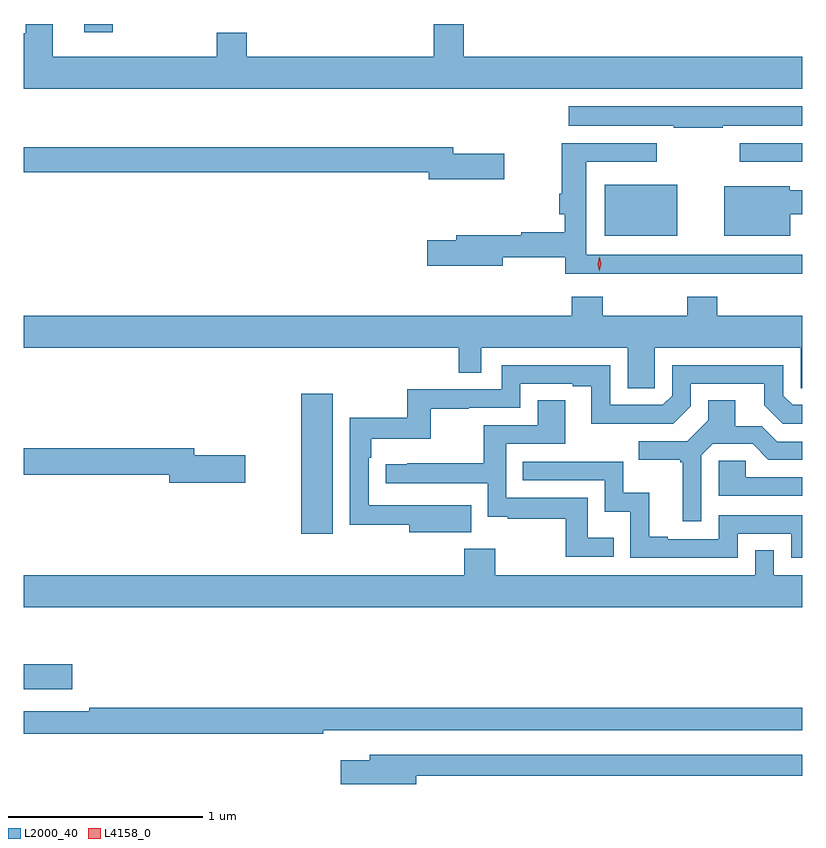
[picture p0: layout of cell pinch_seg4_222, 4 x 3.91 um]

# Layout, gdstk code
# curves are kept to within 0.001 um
import gdstk
lib = gdstk.Library(unit=1e-6, precision=1e-09)
def R(c, l, rs):  # rectangles x0, y0, x1, y1
    for r in rs: c.add(gdstk.rectangle(r[:2], r[2:], *l))
def P(c, l, *ps):  # polygons
    for p in ps: c.add(gdstk.Polygon(p, *l))
L2000_40 = (2000, 40)
L4158_0 = (4158, 0)

pinch_seg4_222 = lib.new_cell('pinch_seg4_222')
R(pinch_seg4_222, L2000_40, [(994.21,813.713,994.459,813.843), (995.636,814.512,995.797,815.233), (997.196,816.044,997.567,816.307), (997.89,816.423,998.21,816.519), (994.52,817.089,994.667,817.132)])
P(pinch_seg4_222, L2000_40, [(996.317,817.132),(996.317,816.964),(995.357,816.964),(995.357,817.088),(995.201,817.088),(995.201,816.964),(994.36,816.964),(994.36,817.132),(994.22,817.132),(994.22,817.085),(994.21,817.085),(994.21,816.8),(998.21,816.8),(998.21,816.964),(996.47,816.964),(996.47,817.132)],
  [(997.802,816.608),(998.21,816.608),(998.21,816.709),(997.011,816.709),(997.011,816.608),(997.549,816.608),(997.549,816.598),(997.802,816.598)],
  [(997.529,815.85),(997.861,815.85),(997.861,815.849),(998.138,815.849),(998.138,815.85),(998.21,815.85),(998.21,815.946),(997.101,815.946),(997.101,816.423),(997.462,816.423),(997.462,816.519),(996.974,816.519),(996.974,816.259),(996.962,816.259),(996.962,816.155),(996.989,816.155),(996.989,816.062),(996.766,816.062),(996.766,816.047),(996.431,816.047),(996.431,816.021),(996.282,816.021),(996.282,815.891),(996.67,815.891),(996.67,815.934),(996.993,815.934),(996.993,815.85),(997.273,815.85),(997.273,815.849),(997.529,815.849)],
  [(996.679,816.465),(996.418,816.465),(996.418,816.499),(994.21,816.499),(994.21,816.37),(996.29,816.37),(996.29,816.335),(996.679,816.335)],
  [(998.149,816.155),(998.21,816.155),(998.21,816.277),(998.145,816.277),(998.145,816.298),(997.808,816.298),(997.808,816.044),(998.149,816.044)],
  [(997.452,815.468),(998.202,815.468),(998.202,815.26),(998.21,815.26),(998.21,815.632),(997.773,815.632),(997.773,815.731),(997.618,815.731),(997.618,815.632),(997.185,815.632),(997.185,815.731),(997.025,815.731),(997.025,815.632),(994.21,815.632),(994.21,815.468),(996.445,815.468),(996.445,815.341),(996.561,815.341),(996.561,815.468),(997.313,815.468),(997.313,815.26),(997.452,815.26)],
  [(996.509,814.66),(995.982,814.659),(995.982,814.904),(995.996,814.904),(995.996,815),(996.301,815),(996.301,815.155),(996.497,815.155),(996.497,815.16),(996.762,815.16),(996.762,815.283),(997.031,815.283),(997.031,815.271),(997.127,815.271),(997.127,815.078),(997.548,815.079),(997.638,815.169),(997.638,815.283),(998.015,815.283),(998.015,815.173),(998.109,815.079),(998.21,815.079),(998.21,815.175),(998.16,815.175),(998.112,815.223),(998.112,815.379),(997.542,815.379),(997.542,815.223),(997.494,815.175),(997.224,815.175),(997.224,815.379),(996.666,815.379),(996.666,815.256),(996.18,815.256),(996.18,815.11),(995.886,815.11),(995.886,814.558),(996.191,814.558),(996.191,814.52),(996.509,814.52)],
  [(997.692,814.917),(997.749,814.974),(997.955,814.974),(998.036,814.893),(998.21,814.893),(998.21,814.986),(998.082,814.986),(998.002,815.066),(997.867,815.066),(997.867,815.198),(997.727,815.198),(997.727,815.096),(997.62,814.989),(997.371,814.989),(997.371,814.892),(997.584,814.892),(997.584,814.881),(997.595,814.881),(997.595,814.578),(997.692,814.578)],
  [(997.241,814.492),(997.107,814.492),(997.107,814.698),(996.69,814.698),(996.69,814.974),(996.991,814.974),(996.991,815.198),(996.851,815.198),(996.851,815.07),(996.574,815.07),(996.574,814.874),(996.181,814.874),(996.181,814.869),(996.069,814.869),(996.069,814.773),(996.594,814.773),(996.594,814.601),(996.697,814.601),(996.697,814.59),(996.996,814.59),(996.996,814.395),(997.241,814.395)],
  [(995.347,814.916),(995.086,814.916),(995.086,814.952),(994.21,814.952),(994.21,814.816),(994.958,814.816),(994.958,814.774),(995.347,814.774)],
  [(998.21,814.803),(997.919,814.803),(997.919,814.887),(997.782,814.887),(997.782,814.707),(998.21,814.707)],
  [(997.878,814.512),(998.154,814.512),(998.154,814.389),(998.21,814.389),(998.21,814.608),(997.782,814.608),(997.782,814.485),(997.519,814.485),(997.519,814.498),(997.423,814.498),(997.423,814.723),(997.29,814.723),(997.29,814.884),(996.775,814.884),(996.775,814.788),(997.194,814.788),(997.194,814.625),(997.326,814.625),(997.326,814.389),(997.878,814.389)],
  [(998.21,814.3),(998.064,814.3),(998.064,814.427),(997.968,814.427),(997.968,814.3),(996.633,814.3),(996.633,814.435),(996.473,814.435),(996.473,814.3),(994.21,814.3),(994.21,814.136),(998.21,814.136)],
  [(995.75,813.504),(998.21,813.504),(998.21,813.62),(994.546,813.62),(994.546,813.6),(994.21,813.6),(994.21,813.484),(995.75,813.484)],
  [(996.226,813.27),(998.21,813.27),(998.21,813.378),(995.987,813.378),(995.987,813.349),(995.838,813.349),(995.838,813.227),(996.226,813.227)])
P(pinch_seg4_222, L4158_0, [(997.168,815.862),(997.168,815.863),(997.158,815.898),(997.168,815.934),(997.169,815.934),(997.169,815.934),(997.178,815.898),(997.168,815.863)])

lib.write_gds('pinch_seg4_222.gds')
